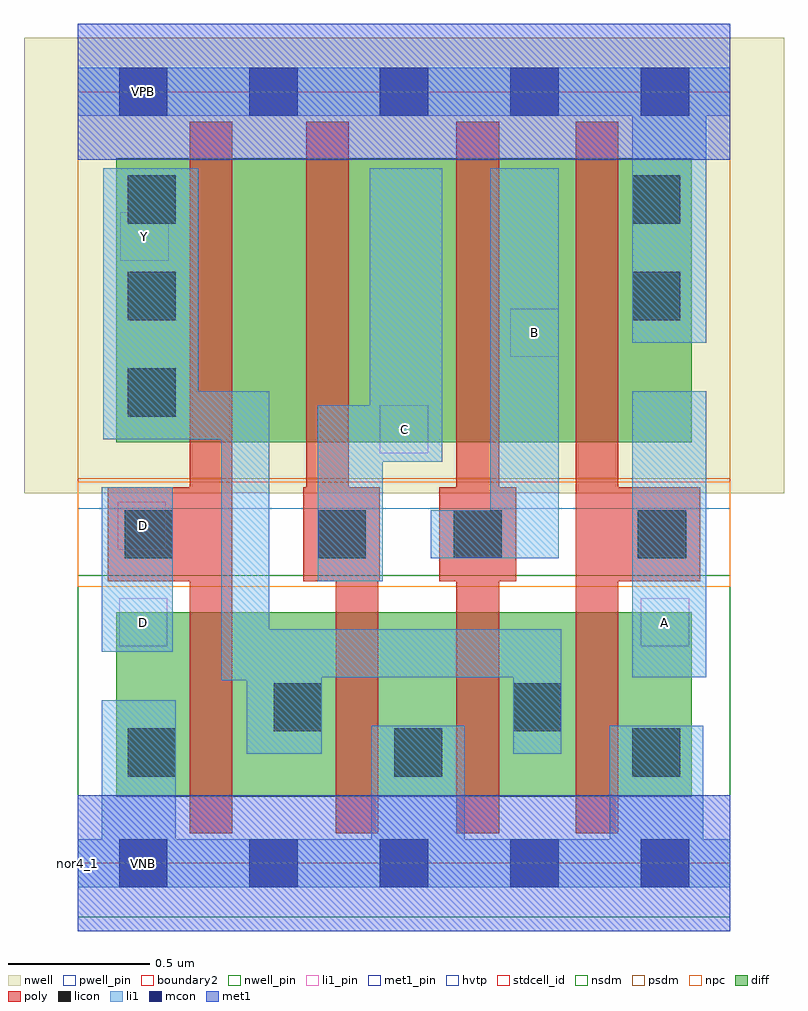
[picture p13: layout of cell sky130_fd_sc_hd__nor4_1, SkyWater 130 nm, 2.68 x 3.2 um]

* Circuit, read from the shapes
.subckt sky130_fd_sc_hd__nor4_1 A B C D VGND VNB VPB VPWR Y
XM1 Y D VGND VNB sky130_fd_pr__nfet_01v8 w=0.65 l=0.15
XM2 VGND C Y VNB sky130_fd_pr__nfet_01v8 w=0.65 l=0.15
XM3 Y B VGND VNB sky130_fd_pr__nfet_01v8 w=0.65 l=0.15
XM4 VGND A Y VNB sky130_fd_pr__nfet_01v8 w=0.65 l=0.15
XM5 n1 D Y VPB sky130_fd_pr__pfet_01v8_hvt w=1 l=0.15
XM6 n2 C n1 VPB sky130_fd_pr__pfet_01v8_hvt w=1 l=0.15
XM7 n3 B n2 VPB sky130_fd_pr__pfet_01v8_hvt w=1 l=0.15
XM8 VPWR A n3 VPB sky130_fd_pr__pfet_01v8_hvt w=1 l=0.15
.ends

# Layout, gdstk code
import gdstk
lib = gdstk.Library(unit=1e-6, precision=1e-09)
def R(c, l, rs):  # rectangles x0, y0, x1, y1
    for r in rs: c.add(gdstk.rectangle(r[:2], r[2:], *l))
def A(c, l, x, y, w, h, nx, ny, dx, dy):  # array of equal rectangles
    R(c, l, [(x+i*dx, y+j*dy, x+i*dx+w, y+j*dy+h) for i in range(nx) for j in range(ny)])
def P(c, l, *ps):  # polygons
    for p in ps: c.add(gdstk.Polygon(p, *l))
nwell_pin = (64, 16)
nwell = (64, 20)
diff = (65, 20)
poly = (66, 20)
licon = (66, 44)
li1_pin = (67, 16)
li1 = (67, 20)
mcon = (67, 44)
met1_pin = (68, 16)
met1 = (68, 20)
hvtp = (78, 44)
stdcell_id = (81, 4)
nsdm = (93, 44)
psdm = (94, 20)
npc = (95, 20)
pwell_pin = (122, 16)
boundary2 = (236, 0)

sky130_fd_sc_hd__nor4_1 = lib.new_cell('sky130_fd_sc_hd__nor4_1')
R(sky130_fd_sc_hd__nor4_1, nwell_pin, [(0.145,2.635,0.315,2.805)])
R(sky130_fd_sc_hd__nor4_1, nwell, [(-0.19,1.305,2.49,2.91)])
R(sky130_fd_sc_hd__nor4_1, diff, [(0.135,0.235,2.165,0.885), (0.135,1.485,2.165,2.485)])
P(sky130_fd_sc_hd__nor4_1, poly, [(0.545,2.615),(0.395,2.615),(0.395,1.325),(0.105,1.325),(0.105,0.995),(0.395,0.995),(0.395,0.105),(0.545,0.105)],
  [(1.545,1.325),(1.485,1.325),(1.485,2.615),(1.335,2.615),(1.335,1.325),(1.275,1.325),(1.275,0.995),(1.335,0.995),(1.335,0.105),(1.485,0.105),(1.485,0.995),(1.545,0.995)],
  [(2.195,1.325),(1.905,1.325),(1.905,2.615),(1.755,2.615),(1.755,0.105),(1.905,0.105),(1.905,0.995),(2.195,0.995)],
  [(1.065,1.325),(0.955,1.325),(0.955,2.615),(0.805,2.615),(0.805,1.325),(0.795,1.325),(0.795,0.995),(0.91,0.995),(0.91,0.105),(1.06,0.105),(1.06,0.995),(1.065,0.995)])
A(sky130_fd_sc_hd__nor4_1, licon, 0.175, 1.575, 0.17, 0.17, 1, 3, 0, 0.34)
R(sky130_fd_sc_hd__nor4_1, licon, [(0.175,0.305,0.345,0.475), (1.115,0.305,1.285,0.475), (1.955,0.305,2.125,0.475), (0.69,0.465,0.86,0.635), (1.535,0.465,1.705,0.635), (0.165,1.075,0.335,1.245), (0.845,1.075,1.015,1.245), (1.325,1.075,1.495,1.245), (1.975,1.075,2.145,1.245), (1.955,1.915,2.125,2.085), (1.955,2.255,2.125,2.425)])
R(sky130_fd_sc_hd__nor4_1, li1_pin, [(0.145,0.765,0.315,0.935), (1.985,0.765,2.155,0.935), (0.14,1.105,0.31,1.275), (1.065,1.445,1.235,1.615), (1.525,1.785,1.695,1.955), (0.15,2.125,0.32,2.295)])
R(sky130_fd_sc_hd__nor4_1, li1, [(1.955,0.655,2.215,1.665), (0.085,0.745,0.335,1.325)])
P(sky130_fd_sc_hd__nor4_1, li1, [(1.285,2.45),(1.03,2.45),(1.03,1.615),(0.845,1.615),(0.845,0.995),(1.075,0.995),(1.075,1.415),(1.285,1.415)],
  [(2.3,0.085),(2.205,0.085),(2.205,0.485),(1.875,0.485),(1.875,0.085),(1.365,0.085),(1.365,0.485),(1.035,0.485),(1.035,0.085),(0.345,0.085),(0.345,0.575),(0.085,0.575),(0.085,0.085),(0,0.085),(0,-0.085),(2.3,-0.085)],
  [(1.695,2.45),(1.455,2.45),(1.455,1.245),(1.245,1.245),(1.245,1.075),(1.695,1.075)],
  [(1.705,0.825),(0.675,0.825),(0.675,1.665),(0.425,1.665),(0.425,2.45),(0.09,2.45),(0.09,1.495),(0.505,1.495),(0.505,0.645),(0.595,0.645),(0.595,0.385),(0.86,0.385),(0.86,0.655),(1.535,0.655),(1.535,0.385),(1.705,0.385)],
  [(2.3,2.805),(0,2.805),(0,2.635),(1.955,2.635),(1.955,1.835),(2.215,1.835),(2.215,2.635),(2.3,2.635)])
A(sky130_fd_sc_hd__nor4_1, mcon, 0.145, -0.085, 0.17, 0.17, 5, 2, 0.46, 2.72)
R(sky130_fd_sc_hd__nor4_1, met1_pin, [(0.145,-0.085,0.315,0.085), (0.145,2.635,0.315,2.805)])
R(sky130_fd_sc_hd__nor4_1, hvtp, [(0,1.25,2.3,2.72)])
R(sky130_fd_sc_hd__nor4_1, stdcell_id, [(0,0,2.3,2.72)])
R(sky130_fd_sc_hd__nor4_1, nsdm, [(0,-0.19,2.3,1.015)])
R(sky130_fd_sc_hd__nor4_1, psdm, [(0,1.355,2.3,2.91)])
R(sky130_fd_sc_hd__nor4_1, npc, [(0,0.975,2.3,1.345)])
R(sky130_fd_sc_hd__nor4_1, pwell_pin, [(0.145,-0.085,0.315,0.085)])
R(sky130_fd_sc_hd__nor4_1, boundary2, [(0,0,2.3,2.72)])
sky130_fd_sc_hd__nor4_1.add(gdstk.FlexPath([(0,2.72),(2.3,2.72)], 0.48, ends="flush", simple_path=True, layer=68, datatype=20))  # met1
sky130_fd_sc_hd__nor4_1.add(gdstk.FlexPath([(0,0),(2.3,0)], 0.48, ends="flush", simple_path=True, layer=68, datatype=20))  # met1
sky130_fd_sc_hd__nor4_1.add(gdstk.Label('D', (0.23,0.85), layer=67, texttype=5))
sky130_fd_sc_hd__nor4_1.add(gdstk.Label('C', (1.15,1.53), layer=67, texttype=5))
sky130_fd_sc_hd__nor4_1.add(gdstk.Label('D', (0.23,1.19), layer=67, texttype=5))
sky130_fd_sc_hd__nor4_1.add(gdstk.Label('Y', (0.235,2.21), layer=67, texttype=5))
sky130_fd_sc_hd__nor4_1.add(gdstk.Label('A', (2.07,0.85), layer=67, texttype=5))
sky130_fd_sc_hd__nor4_1.add(gdstk.Label('B', (1.61,1.87), layer=67, texttype=5))
sky130_fd_sc_hd__nor4_1.add(gdstk.Label('VPB', (0.23,2.72), layer=64, texttype=5))
sky130_fd_sc_hd__nor4_1.add(gdstk.Label('VNB', (0.23,0), layer=64, texttype=59))
sky130_fd_sc_hd__nor4_1.add(gdstk.Label('VGND', (0.23,0), layer=68, texttype=5))
sky130_fd_sc_hd__nor4_1.add(gdstk.Label('VPWR', (0.23,2.72), layer=68, texttype=5))
sky130_fd_sc_hd__nor4_1.add(gdstk.Label('nor4_1', (0,0), layer=83, texttype=44))

lib.write_gds('sky130_fd_sc_hd__nor4_1.gds')
